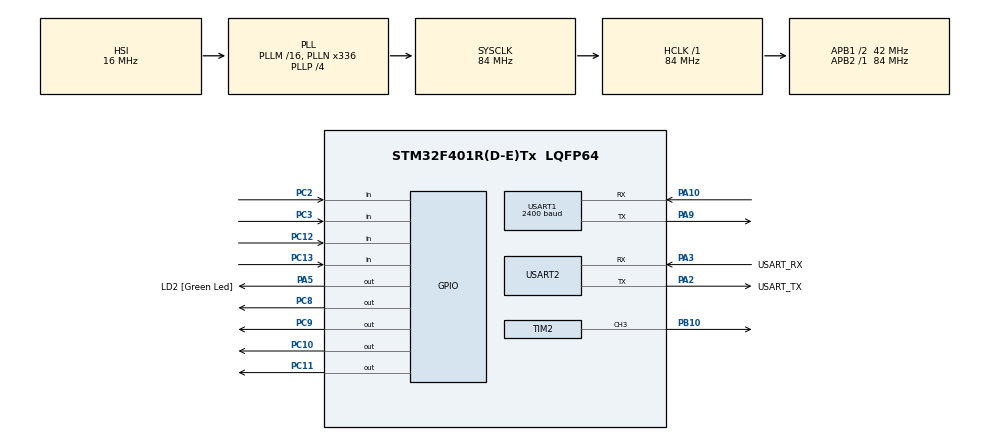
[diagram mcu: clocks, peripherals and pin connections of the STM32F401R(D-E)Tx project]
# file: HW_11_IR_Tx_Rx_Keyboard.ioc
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Dma.Request0=USART1_RX
Dma.Request1=USART2_TX
Dma.USART1_RX.0.Direction=DMA_PERIPH_TO_MEMORY
Dma.USART1_RX.0.FIFOMode=DMA_FIFOMODE_DISABLE
Dma.USART1_RX.0.Instance=DMA2_Stream2
Dma.USART1_RX.0.MemDataAlignment=DMA_MDATAALIGN_BYTE
Dma.USART1_RX.0.MemInc=DMA_MINC_ENABLE
Dma.USART1_RX.0.Mode=DMA_NORMAL
Dma.USART1_RX.0.PeriphDataAlignment=DMA_PDATAALIGN_BYTE
Dma.USART1_RX.0.PeriphInc=DMA_PINC_DISABLE
Dma.USART1_RX.0.Priority=DMA_PRIORITY_LOW
Dma.USART2_TX.1.Direction=DMA_MEMORY_TO_PERIPH
Dma.USART2_TX.1.FIFOMode=DMA_FIFOMODE_DISABLE
Dma.USART2_TX.1.Instance=DMA1_Stream6
Dma.USART2_TX.1.MemDataAlignment=DMA_MDATAALIGN_BYTE
Dma.USART2_TX.1.MemInc=DMA_MINC_ENABLE
Dma.USART2_TX.1.Mode=DMA_NORMAL
Dma.USART2_TX.1.PeriphDataAlignment=DMA_PDATAALIGN_BYTE
Dma.USART2_TX.1.PeriphInc=DMA_PINC_DISABLE
Dma.USART2_TX.1.Priority=DMA_PRIORITY_LOW
Mcu.Family=STM32F4
Mcu.Name=STM32F401R(D-E)Tx
Mcu.Package=LQFP64
NVIC.DMA1_Stream6_IRQn=true\:0\:0\:false\:false\:true\:false\:true\:true
NVIC.DMA2_Stream2_IRQn=true\:0\:0\:false\:false\:true\:false\:true\:true
NVIC.PriorityGroup=NVIC_PRIORITYGROUP_1
NVIC.TIM3_IRQn=true\:0\:0\:false\:false\:true\:true\:true\:true
NVIC.TIM4_IRQn=true\:1\:0\:true\:false\:true\:true\:true\:true
NVIC.USART1_IRQn=true\:0\:0\:false\:false\:true\:true\:true\:true
NVIC.USART2_IRQn=true\:0\:0\:false\:false\:true\:true\:true\:true
PA10.Mode=Asynchronous
PA10.Signal=USART1_RX
PA13.GPIO_Label=TMS
PA13.Mode=Serial_Wire
PA13.Signal=SYS_JTMS-SWDIO
PA14.GPIO_Label=TCK
PA14.Mode=Serial_Wire
PA14.Signal=SYS_JTCK-SWCLK
PA2.GPIO_Label=USART_TX
PA2.GPIO_Mode=GPIO_MODE_AF_PP
PA2.GPIO_PuPd=GPIO_NOPULL
PA2.GPIO_Speed=GPIO_SPEED_FREQ_LOW
PA2.Mode=Asynchronous
PA2.Signal=USART2_TX
PA3.GPIO_Label=USART_RX
PA3.GPIO_Mode=GPIO_MODE_AF_PP
PA3.GPIO_PuPd=GPIO_NOPULL
PA3.GPIO_Speed=GPIO_SPEED_FREQ_LOW
PA3.Mode=Asynchronous
PA3.Signal=USART2_RX
PA5.GPIO_Label=LD2 [Green Led]
PA5.GPIO_Mode=GPIO_MODE_OUTPUT_PP
PA5.GPIO_PuPd=GPIO_NOPULL
PA5.GPIO_Speed=GPIO_SPEED_FREQ_LOW
PA5.Signal=GPIO_Output
PA9.Mode=Asynchronous
PA9.Signal=USART1_TX
PB10.Signal=S_TIM2_CH3
PB3.GPIO_Label=SWO
PB3.Signal=SYS_JTDO-SWO
PC10.Signal=GPIO_Output
PC11.Signal=GPIO_Output
PC12.Signal=GPIO_Input
PC13-ANTI_TAMP.Signal=GPIO_Input
PC14-OSC32_IN.Mode=LSE-External-Oscillator
PC14-OSC32_IN.Signal=RCC_OSC32_IN
PC15-OSC32_OUT.Mode=LSE-External-Oscillator
PC15-OSC32_OUT.Signal=RCC_OSC32_OUT
PC2.Signal=GPIO_Input
PC3.Signal=GPIO_Input
PC8.Signal=GPIO_Output
PC9.Signal=GPIO_Output
PH0\ -\ OSC_IN.Mode=HSE-External-Clock-Source
PH0\ -\ OSC_IN.Signal=RCC_OSC_IN
PH1\ -\ OSC_OUT.Mode=HSE-External-Clock-Source
PH1\ -\ OSC_OUT.Signal=RCC_OSC_OUT
ProjectManager.HeapSize=0x200
ProjectManager.StackSize=0x400
ProjectManager.TargetToolchain=STM32CubeIDE
RCC.48MHZClocksFreq_Value=48000000
RCC.AHBFreq_Value=84000000
RCC.APB1CLKDivider=RCC_HCLK_DIV2
RCC.APB1Freq_Value=42000000
RCC.APB1TimFreq_Value=84000000
RCC.APB2Freq_Value=84000000
RCC.APB2TimFreq_Value=84000000
RCC.CortexFreq_Value=84000000
RCC.HCLKFreq_Value=84000000
RCC.HSE_VALUE=8000000
RCC.HSI_VALUE=16000000
RCC.PLLN=336
RCC.PLLP=RCC_PLLP_DIV4
RCC.PLLQ=7
RCC.SYSCLKFreq_VALUE=84000000
RCC.SYSCLKSource=RCC_SYSCLKSOURCE_PLLCLK
RCC.VCOOutputFreq_Value=336000000
SH.S_TIM2_CH3.0=TIM2_CH3,PWM Generation3 CH3
TIM2.Channel-PWM\ Generation3\ CH3=TIM_CHANNEL_3
TIM2.Period=2210-1
TIM2.Prescaler=1-1
TIM2.Pulse-PWM\ Generation3\ CH3=1105-1
TIM3.Period=35000-1
TIM3.Prescaler=1-1
TIM4.Period=50-1
TIM4.Prescaler=8400-1
USART1.BaudRate=2400
USART1.VirtualMode=VM_ASYNC
USART2.VirtualMode=VM_ASYNC
VP_TIM3_VS_ClockSourceINT.Mode=Internal
VP_TIM4_VS_ClockSourceINT.Mode=Internal
board=NUCLEO-F401RE

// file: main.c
/* USER CODE BEGIN Header */
/**
  ******************************************************************************
  * @file           : main.c
  * @brief          : Main program body
  ******************************************************************************
  * @attention
  *
  * Copyright (c) 2024 STMicroelectronics.
  * All rights reserved.
  *
  * This software is licensed under terms that can be found in the LICENSE file
  * in the root directory of this software component.
  * If no LICENSE file comes with this software, it is provided AS-IS.
  *
  ******************************************************************************
  */
/* USER CODE END Header */
#include "main.h"

/* USER CODE BEGIN PD */

#define ROW_0 GPIOC,GPIO_PIN_3
#define ROW_1 GPIOC,GPIO_PIN_2
#define ROW_2 GPIOC,GPIO_PIN_13
#define ROW_3 GPIOC,GPIO_PIN_12

#define COL_0 GPIOC,GPIO_PIN_11
#define COL_1 GPIOC,GPIO_PIN_10
#define COL_2 GPIOC,GPIO_PIN_9
#define COL_3 GPIOC,GPIO_PIN_8

#define NUM_OF_SAMPLES 2
#define ROW_LENGTH 4
#define COLUMN_LENGTH 4

#define NUM_OF_BITS 8

/* USER CODE END PD */

TIM_HandleTypeDef htim2;
TIM_HandleTypeDef htim3;
TIM_HandleTypeDef htim4;

UART_HandleTypeDef huart1;
UART_HandleTypeDef huart2;
DMA_HandleTypeDef hdma_usart1_rx;
DMA_HandleTypeDef hdma_usart2_tx;

/* USER CODE BEGIN PV */

uint8_t sample_index = 0;	//index of the samples collected in order to debounce
uint8_t col_index = 0;		//index of the number of the column
uint8_t row_index = 0;		//index of the number of the row

uint8_t btn = 0;	//button state (used also for debouncing) - if btn = 0 -> button is pressed

uint8_t i = 0;
uint8_t j = 0;
uint8_t k = 0;

uint8_t rx_data[NUM_OF_SAMPLES][COLUMN_LENGTH][ROW_LENGTH];		//buttons state - 3rd dimension stores the different samples to debounce

char out_matrix[COLUMN_LENGTH][ROW_LENGTH] = {
		{'F', 'E', 'D', 'C'},
		{'B', 'A', '9', '8'},
		{'7', '6', '5', '4'},
		{'3', '2', '1', '0'}
};

uint8_t old_btn[COLUMN_LENGTH][ROW_LENGTH] = {	//previous state of the buttons
		{1, 1, 1, 1},
		{1, 1, 1, 1},
		{1, 1, 1, 1},
		{1, 1, 1, 1},
};

char c_rx;		//store received character
char c_tx;		//store character that has to be transmitted

uint8_t bit_index = 0;		//this index run through the bits of the char to understand if 1 or 0

/* USER CODE END PV */

void SystemClock_Config(void);
static void MX_GPIO_Init(void);
static void MX_DMA_Init(void);
static void MX_USART2_UART_Init(void);
static void MX_TIM2_Init(void);
static void MX_TIM3_Init(void);
static void MX_TIM4_Init(void);
static void MX_USART1_UART_Init(void);

/* USER CODE BEGIN 0 */

void HAL_UART_RxCpltCallback (UART_HandleTypeDef *huart) {		//received char through IR (UART)
	if (huart == &huart1) {
		HAL_UART_Transmit_DMA(&huart2, &c_rx, sizeof(c_rx));	//send char to the PC
	}
	HAL_UART_Receive_DMA(&huart1, &c_rx, sizeof(c_rx));		//new receiving request
}

void IR_UART_Byte_Transmit() {		//start new Byte transmission using UART protocol
	  bit_index = 0;

	  __HAL_TIM_CLEAR_IT(&htim3, TIM_IT_UPDATE);	//clear interrupt request BEFORE enabling tim interrupt
	  HAL_TIM_Base_Start_IT(&htim3); 				//start TIM3 in interrupt mode

	  HAL_TIM_PWM_Start(&htim2, TIM_CHANNEL_3);		//start bit: enable PWM
}

void HAL_TIM_PeriodElapsedCallback (TIM_HandleTypeDef *htim) {

	if (htim == &htim4) {	//5ms elapsed
		row_index = 0;

		//ROW_0
		rx_data[sample_index][row_index][col_index] = HAL_GPIO_ReadPin(ROW_0);	//save the btn state
		//debouncing: check if the btn is stably zero (check if many samples are = to 0)
		for (i = 0, btn = 0; i < NUM_OF_SAMPLES; i++)
			btn = btn || rx_data[i][row_index][col_index];

		//check if button already pressed: print only if previously not pressed, now pressed
		if (!btn && old_btn[row_index][col_index]) {
			c_tx = out_matrix[row_index][col_index];
			IR_UART_Byte_Transmit();
		}

		old_btn[row_index][col_index] = btn; //save the state for the next check

		//ROW_1
		rx_data[sample_index][++row_index][col_index] = HAL_GPIO_ReadPin(ROW_1);
		for (i = 0, btn = 0; i < NUM_OF_SAMPLES; i++)
			btn = btn || rx_data[i][row_index][col_index];

		if (!btn && old_btn[row_index][col_index]) {
			c_tx = out_matrix[row_index][col_index];
			IR_UART_Byte_Transmit();
		}

		old_btn[row_index][col_index] = btn;

		//ROW_2
		rx_data[sample_index][++row_index][col_index] = HAL_GPIO_ReadPin(ROW_2);
		for (i = 0, btn = 0; i < NUM_OF_SAMPLES; i++)
			btn = btn || rx_data[i][row_index][col_index];

		if (!btn && old_btn[row_index][col_index]) {
			c_tx = out_matrix[row_index][col_index];
			IR_UART_Byte_Transmit();
		}

		old_btn[row_index][col_index] = btn;

		//ROW_3
		rx_data[sample_index][++row_index][col_index] = HAL_GPIO_ReadPin(ROW_3);
		for (i = 0, btn = 0; i < NUM_OF_SAMPLES; i++)
			btn = btn || rx_data[i][row_index][col_index];

		if (!btn && old_btn[row_index][col_index]) {
			c_tx = out_matrix[row_index][col_index];
			IR_UART_Byte_Transmit();
		}

		old_btn[row_index][col_index] = btn;

		col_index++;
		if (col_index == ROW_LENGTH) {
			col_index = 0;
			sample_index++;	//need to acquire new sample
			if (sample_index == NUM_OF_SAMPLES)
				sample_index = 0;
		}

		//columns drive manager
		HAL_GPIO_WritePin(COL_0, (col_index == 0) ? GPIO_PIN_SET : GPIO_PIN_RESET);
		HAL_GPIO_WritePin(COL_1, (col_index == 1) ? GPIO_PIN_SET : GPIO_PIN_RESET);
		HAL_GPIO_WritePin(COL_2, (col_index == 2) ? GPIO_PIN_SET : GPIO_PIN_RESET);
		HAL_GPIO_WritePin(COL_3, (col_index == 3) ? GPIO_PIN_SET : GPIO_PIN_RESET);
	}

	if (htim == &htim3) {		// (1/2400)s elapsed (baud_rate)-> send new bit
		if (bit_index == NUM_OF_BITS) {
			//send stop bit
			HAL_TIM_PWM_Stop(&htim2, TIM_CHANNEL_3);
			HAL_TIM_Base_Stop_IT(&htim3);
		} else {
			if (c_tx & (1 << bit_index++)) {	//check if send 0 or 1
				HAL_TIM_PWM_Stop(&htim2, TIM_CHANNEL_3);
			} else {
				HAL_TIM_PWM_Start(&htim2, TIM_CHANNEL_3);
			}
		}
	}
}

/* USER CODE END 0 */

int main(void)
{

  /* MCU Configuration--------------------------------------------------------*/

  /* Reset of all peripherals, Initializes the Flash interface and the Systick. */
  HAL_Init();

  /* Configure the system clock */
  SystemClock_Config();

  /* Initialize all configured peripherals */
  MX_GPIO_Init();
  MX_DMA_Init();
  MX_USART2_UART_Init();
  MX_TIM2_Init();
  MX_TIM3_Init();
  MX_TIM4_Init();
  MX_USART1_UART_Init();
  /* USER CODE BEGIN 2 */

  for (i = 0; i < NUM_OF_SAMPLES; i++) {
        for (j = 0; j < COLUMN_LENGTH; j++) {
            for (k = 0; k < ROW_LENGTH; k++) {
                rx_data[i][j][k] = 1;
            }
        }
    }

  HAL_UART_Receive_DMA(&huart1, &c_rx, sizeof(c_rx));	//first receiving request

  HAL_GPIO_WritePin(COL_0, GPIO_PIN_SET); 		//drive the first column

  __HAL_TIM_CLEAR_IT(&htim4, TIM_IT_UPDATE);	//clear interrupt request BEFORE enabling tim interrupt
  HAL_TIM_Base_Start_IT(&htim4); 				//start TIM4 in interrupt mode

  /* USER CODE END 2 */

  /* Infinite loop */
  while (1)
  {

  }
}

void SystemClock_Config(void)
{
  RCC_OscInitTypeDef RCC_OscInitStruct = {0};
  RCC_ClkInitTypeDef RCC_ClkInitStruct = {0};

  /** Configure the main internal regulator output voltage
  */
  __HAL_RCC_PWR_CLK_ENABLE();
  __HAL_PWR_VOLTAGESCALING_CONFIG(PWR_REGULATOR_VOLTAGE_SCALE2);

  /** Initializes the RCC Oscillators according to the specified parameters
  * in the RCC_OscInitTypeDef structure.
  */
  RCC_OscInitStruct.OscillatorType = RCC_OSCILLATORTYPE_HSI;
  RCC_OscInitStruct.HSIState = RCC_HSI_ON;
  RCC_OscInitStruct.HSICalibrationValue = RCC_HSICALIBRATION_DEFAULT;
  RCC_OscInitStruct.PLL.PLLState = RCC_PLL_ON;
  RCC_OscInitStruct.PLL.PLLSource = RCC_PLLSOURCE_HSI;
  RCC_OscInitStruct.PLL.PLLM = 16;
  RCC_OscInitStruct.PLL.PLLN = 336;
  RCC_OscInitStruct.PLL.PLLP = RCC_PLLP_DIV4;
  RCC_OscInitStruct.PLL.PLLQ = 7;
  if (HAL_RCC_OscConfig(&RCC_OscInitStruct) != HAL_OK)
  {
    Error_Handler();
  }

  /** Initializes the CPU, AHB and APB buses clocks
  */
  RCC_ClkInitStruct.ClockType = RCC_CLOCKTYPE_HCLK|RCC_CLOCKTYPE_SYSCLK
                              |RCC_CLOCKTYPE_PCLK1|RCC_CLOCKTYPE_PCLK2;
  RCC_ClkInitStruct.SYSCLKSource = RCC_SYSCLKSOURCE_PLLCLK;
  RCC_ClkInitStruct.AHBCLKDivider = RCC_SYSCLK_DIV1;
  RCC_ClkInitStruct.APB1CLKDivider = RCC_HCLK_DIV2;
  RCC_ClkInitStruct.APB2CLKDivider = RCC_HCLK_DIV1;

  if (HAL_RCC_ClockConfig(&RCC_ClkInitStruct, FLASH_LATENCY_2) != HAL_OK)
  {
    Error_Handler();
  }
}

static void MX_TIM2_Init(void)
{

  TIM_MasterConfigTypeDef sMasterConfig = {0};
  TIM_OC_InitTypeDef sConfigOC = {0};

  htim2.Instance = TIM2;
  htim2.Init.Prescaler = 1-1;
  htim2.Init.CounterMode = TIM_COUNTERMODE_UP;
  htim2.Init.Period = 2210-1;
  htim2.Init.ClockDivision = TIM_CLOCKDIVISION_DIV1;
  htim2.Init.AutoReloadPreload = TIM_AUTORELOAD_PRELOAD_DISABLE;
  if (HAL_TIM_PWM_Init(&htim2) != HAL_OK)
  {
    Error_Handler();
  }
  sMasterConfig.MasterOutputTrigger = TIM_TRGO_RESET;
  sMasterConfig.MasterSlaveMode = TIM_MASTERSLAVEMODE_DISABLE;
  if (HAL_TIMEx_MasterConfigSynchronization(&htim2, &sMasterConfig) != HAL_OK)
  {
    Error_Handler();
  }
  sConfigOC.OCMode = TIM_OCMODE_PWM1;
  sConfigOC.Pulse = 1105-1;
  sConfigOC.OCPolarity = TIM_OCPOLARITY_HIGH;
  sConfigOC.OCFastMode = TIM_OCFAST_DISABLE;
  if (HAL_TIM_PWM_ConfigChannel(&htim2, &sConfigOC, TIM_CHANNEL_3) != HAL_OK)
  {
    Error_Handler();
  }
  HAL_TIM_MspPostInit(&htim2);

}

static void MX_TIM3_Init(void)
{

  TIM_ClockConfigTypeDef sClockSourceConfig = {0};
  TIM_MasterConfigTypeDef sMasterConfig = {0};

  htim3.Instance = TIM3;
  htim3.Init.Prescaler = 1-1;
  htim3.Init.CounterMode = TIM_COUNTERMODE_UP;
  htim3.Init.Period = 35000-1;
  htim3.Init.ClockDivision = TIM_CLOCKDIVISION_DIV1;
  htim3.Init.AutoReloadPreload = TIM_AUTORELOAD_PRELOAD_DISABLE;
  if (HAL_TIM_Base_Init(&htim3) != HAL_OK)
  {
    Error_Handler();
  }
  sClockSourceConfig.ClockSource = TIM_CLOCKSOURCE_INTERNAL;
  if (HAL_TIM_ConfigClockSource(&htim3, &sClockSourceConfig) != HAL_OK)
  {
    Error_Handler();
  }
  sMasterConfig.MasterOutputTrigger = TIM_TRGO_RESET;
  sMasterConfig.MasterSlaveMode = TIM_MASTERSLAVEMODE_DISABLE;
  if (HAL_TIMEx_MasterConfigSynchronization(&htim3, &sMasterConfig) != HAL_OK)
  {
    Error_Handler();
  }

}

static void MX_TIM4_Init(void)
{

  TIM_ClockConfigTypeDef sClockSourceConfig = {0};
  TIM_MasterConfigTypeDef sMasterConfig = {0};

  htim4.Instance = TIM4;
  htim4.Init.Prescaler = 8400-1;
  htim4.Init.CounterMode = TIM_COUNTERMODE_UP;
  htim4.Init.Period = 50-1;
  htim4.Init.ClockDivision = TIM_CLOCKDIVISION_DIV1;
  htim4.Init.AutoReloadPreload = TIM_AUTORELOAD_PRELOAD_DISABLE;
  if (HAL_TIM_Base_Init(&htim4) != HAL_OK)
  {
    Error_Handler();
  }
  sClockSourceConfig.ClockSource = TIM_CLOCKSOURCE_INTERNAL;
  if (HAL_TIM_ConfigClockSource(&htim4, &sClockSourceConfig) != HAL_OK)
  {
    Error_Handler();
  }
  sMasterConfig.MasterOutputTrigger = TIM_TRGO_RESET;
  sMasterConfig.MasterSlaveMode = TIM_MASTERSLAVEMODE_DISABLE;
  if (HAL_TIMEx_MasterConfigSynchronization(&htim4, &sMasterConfig) != HAL_OK)
  {
    Error_Handler();
  }

}

static void MX_USART1_UART_Init(void)
{

  huart1.Instance = USART1;
  huart1.Init.BaudRate = 2400;
  huart1.Init.WordLength = UART_WORDLENGTH_8B;
  huart1.Init.StopBits = UART_STOPBITS_1;
  huart1.Init.Parity = UART_PARITY_NONE;
  huart1.Init.Mode = UART_MODE_TX_RX;
  huart1.Init.HwFlowCtl = UART_HWCONTROL_NONE;
  huart1.Init.OverSampling = UART_OVERSAMPLING_16;
  if (HAL_UART_Init(&huart1) != HAL_OK)
  {
    Error_Handler();
  }

}

static void MX_USART2_UART_Init(void)
{

  huart2.Instance = USART2;
  huart2.Init.BaudRate = 115200;
  huart2.Init.WordLength = UART_WORDLENGTH_8B;
  huart2.Init.StopBits = UART_STOPBITS_1;
  huart2.Init.Parity = UART_PARITY_NONE;
  huart2.Init.Mode = UART_MODE_TX_RX;
  huart2.Init.HwFlowCtl = UART_HWCONTROL_NONE;
  huart2.Init.OverSampling = UART_OVERSAMPLING_16;
  if (HAL_UART_Init(&huart2) != HAL_OK)
  {
    Error_Handler();
  }

}

static void MX_DMA_Init(void)
{

  /* DMA controller clock enable */
  __HAL_RCC_DMA2_CLK_ENABLE();
  __HAL_RCC_DMA1_CLK_ENABLE();

  /* DMA interrupt init */
  /* DMA1_Stream6_IRQn interrupt configuration */
  HAL_NVIC_SetPriority(DMA1_Stream6_IRQn, 0, 0);
  HAL_NVIC_EnableIRQ(DMA1_Stream6_IRQn);
  /* DMA2_Stream2_IRQn interrupt configuration */
  HAL_NVIC_SetPriority(DMA2_Stream2_IRQn, 0, 0);
  HAL_NVIC_EnableIRQ(DMA2_Stream2_IRQn);

}

static void MX_GPIO_Init(void)
{
  GPIO_InitTypeDef GPIO_InitStruct = {0};

  /* GPIO Ports Clock Enable */
  __HAL_RCC_GPIOC_CLK_ENABLE();
  __HAL_RCC_GPIOH_CLK_ENABLE();
  __HAL_RCC_GPIOA_CLK_ENABLE();
  __HAL_RCC_GPIOB_CLK_ENABLE();

  /*Configure GPIO pin Output Level */
  HAL_GPIO_WritePin(LD2_GPIO_Port, LD2_Pin, GPIO_PIN_RESET);

  /*Configure GPIO pin Output Level */
  HAL_GPIO_WritePin(GPIOC, GPIO_PIN_8|GPIO_PIN_9|GPIO_PIN_10|GPIO_PIN_11, GPIO_PIN_RESET);

  /*Configure GPIO pins : PC13 PC2 PC3 PC12 */
  GPIO_InitStruct.Pin = GPIO_PIN_13|GPIO_PIN_2|GPIO_PIN_3|GPIO_PIN_12;
  GPIO_InitStruct.Mode = GPIO_MODE_INPUT;
  GPIO_InitStruct.Pull = GPIO_NOPULL;
  HAL_GPIO_Init(GPIOC, &GPIO_InitStruct);

  /*Configure GPIO pin : LD2_Pin */
  GPIO_InitStruct.Pin = LD2_Pin;
  GPIO_InitStruct.Mode = GPIO_MODE_OUTPUT_PP;
  GPIO_InitStruct.Pull = GPIO_NOPULL;
  GPIO_InitStruct.Speed = GPIO_SPEED_FREQ_LOW;
  HAL_GPIO_Init(LD2_GPIO_Port, &GPIO_InitStruct);

  /*Configure GPIO pins : PC8 PC9 PC10 PC11 */
  GPIO_InitStruct.Pin = GPIO_PIN_8|GPIO_PIN_9|GPIO_PIN_10|GPIO_PIN_11;
  GPIO_InitStruct.Mode = GPIO_MODE_OUTPUT_PP;
  GPIO_InitStruct.Pull = GPIO_NOPULL;
  GPIO_InitStruct.Speed = GPIO_SPEED_FREQ_LOW;
  HAL_GPIO_Init(GPIOC, &GPIO_InitStruct);

}

void Error_Handler(void)
{
  __disable_irq();
  while (1)
  {
  }
}
